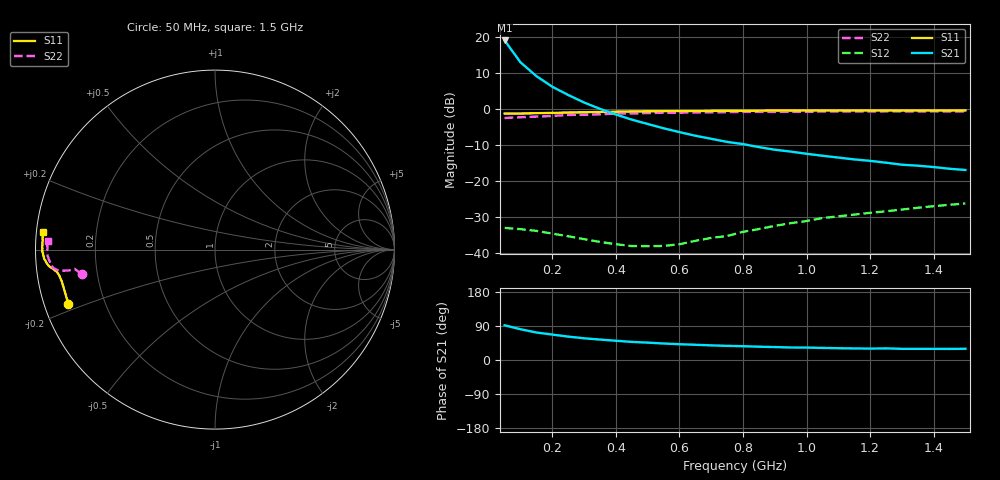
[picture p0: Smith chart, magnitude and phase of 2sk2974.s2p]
! MITSUBISHI RF POWER MOS FET 2SK2974
! S-PARAMETER DATA (TYPICAL)
! Test Conditions: Vdd = 7.2V, Id = 600mA, Tc = 25 deg C
! Source: Mitsubishi Electric Semiconductor Datasheet Nov. '97 (Page 3)
! Format: Frequency (MHz), S-parameters (Magnitude / Angle in Degrees)
! Port 1 = Gate, Port 2 = Drain (Source connected internally to GND)
# MHz S MA R 50
! FREQ  S11  S21  S12  S22
! [MHz]  MAG  ANG  MAG  ANG  MAG  ANG  MAG  ANG
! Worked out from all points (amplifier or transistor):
!   30 points, 50 MHz to 1.5 GHz, reference 50 ohm
!   highest |S21| = 19.1 dB at 50 MHz (marker M1)
!   |S21| within 3 dB of that: start of sweep to 74.75 MHz
!   unconditionally stable (mu >= 1): 373.7 MHz to 1.073 GHz; 1.192 GHz to 1.217 GHz; 1.259 GHz to end of sweep
!   at 300 MHz: K = 0.81, MSG = 18.9 dB, |S12| = -36.0 dB
!   at 800 MHz: K = 1.21, MAG = 9.4 dB, |S12| = -34.0 dB
!   at 1.5 GHz: K = 1.13, MAG = 2.4 dB, |S12| = -26.1 dB
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50  0.8715 -159.6  8.989 91.5  0.02263 6.1  0.7554 -169.7
100  0.8716 -168.2  4.474 81.2  0.02175 0.6  0.7755 -171.1
150  0.8808 -170.8  2.879 72.5  0.02059 -2.4  0.7899 -172.2
200  0.8904 -172.0  2.051 67.1  0.01885 -2.8  0.8078 -171.9
250  0.9004 -172.7  1.577 61.7  0.01735 -1.4  0.8327 -171.9
300  0.9081 -173.2  1.24 57.3  0.0158 1.7  0.8362 -172.0
350  0.9175 -173.7  1.013 54.0  0.01446 7.6  0.8526 -172.1
400  0.925 -174.1  0.8456 50.8  0.01346 14.4  0.8689 -172.5
450  0.9304 -174.4  0.7179 47.8  0.01268 22.2  0.8713 -172.4
550  0.9394 -175.3  0.5447 43.5  0.01272 40.3  0.8918 -172.9
600  0.9423 -175.6  0.482 41.6  0.01343 49.8  0.8941 -173.0
650  0.9453 -176.0  0.4294 40.2  0.01496 57.7  0.9047 -173.4
700  0.9481 -176.4  0.3894 38.6  0.01646 62.7  0.9081 -173.7
750  0.9531 -176.9  0.3525 37.3  0.01744 67.3  0.9107 -173.9
800  0.9546 -177.4  0.3286 36.4  0.01996 71.8  0.9187 -174.5
900  0.9577 -178.3  0.2747 34.2  0.02413 76.9  0.9171 -175.1
1050  0.9617 179.8  0.2266 31.9  0.03099 78.9  0.9274 -176.7
1100  0.9623 179.4  0.2138 31.1  0.0327 78.5  0.9322 -177.7
1300  0.9612 177.0  0.1702 29.5  0.04065 80.5  0.936 -179.4
1350  0.9626 176.2  0.165 29.5  0.04304 80.7  0.9329 179.3
1450  0.9622 174.9  0.1496 29.2  0.0473 79.9  0.9331 178.3
1500  0.962 174.2  0.1438 29.7  0.04937 79.6  0.9301 177.1
